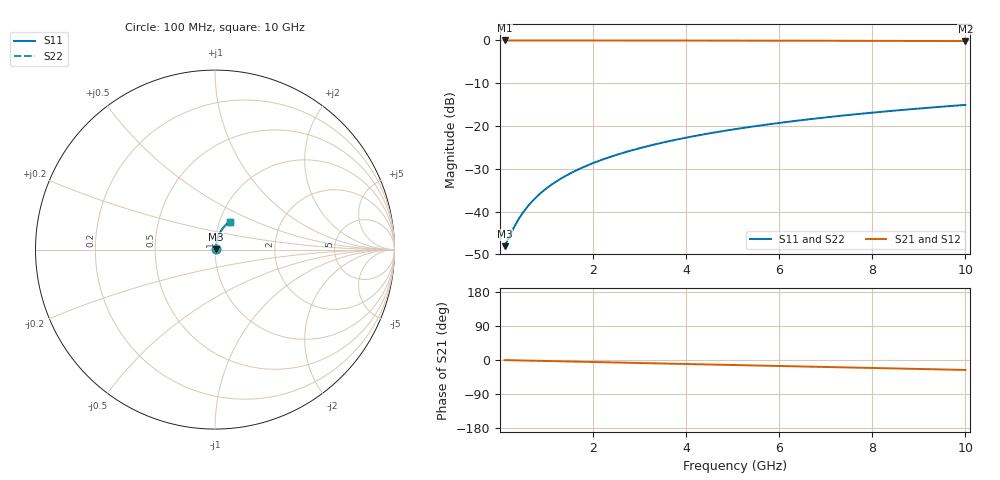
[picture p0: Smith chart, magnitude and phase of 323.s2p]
# Hz S RI R 50.00
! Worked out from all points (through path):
!   100 points, 100 MHz to 10 GHz, reference 50 ohm
!   highest |S21| = -0.03 dB at 100 MHz (marker M1); lowest = -0.2 dB at 10 GHz (marker M2)
!   group delay of S21, straight-line fit = 7.29 ps
!   lowest |S11| = -48.1 dB at 100 MHz (marker M3), VSWR 1.01, Z = 50.4 + j0.183 ohm
!   |S11| at or under -10 dB: start of sweep to end of sweep
!   |S22| runs from -48.1 to -15.1 dB; largest |S21 - S12| = 0
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1e8  0.0035 0.00182  0.9965 -0.00459  0.9965 -0.00459  0.0035 0.00182
3e8  0.00361 0.00545  0.9964 -0.0138  0.9964 -0.0138  0.00361 0.00545
4e8  0.00368 0.00727  0.9963 -0.0183  0.9963 -0.0183  0.00368 0.00727
5e8  0.00376 0.00909  0.9961 -0.0229  0.9961 -0.0229  0.00376 0.00909
6e8  0.00386 0.0109  0.996 -0.0275  0.996 -0.0275  0.00386 0.0109
7e8  0.00398 0.0127  0.9958 -0.0321  0.9958 -0.0321  0.00398 0.0127
9e8  0.00426 0.0163  0.9954 -0.0413  0.9954 -0.0413  0.00426 0.0163
1e9  0.00443 0.0181  0.9952 -0.0458  0.9952 -0.0458  0.00443 0.0181
1.2e9  0.00481 0.0218  0.9946 -0.055  0.9946 -0.055  0.00481 0.0218
1.5e9  0.0055 0.0272  0.9936 -0.0687  0.9936 -0.0687  0.0055 0.0272
1.8e9  0.00634 0.0326  0.9924 -0.0824  0.9924 -0.0824  0.00634 0.0326
2.1e9  0.00733 0.0379  0.9909 -0.0961  0.9909 -0.0961  0.00733 0.0379
2.5e9  0.00887 0.045  0.9887 -0.1142  0.9887 -0.1142  0.00887 0.045
2.9e9  0.0107 0.052  0.986 -0.1324  0.986 -0.1324  0.0107 0.052
3.4e9  0.0133 0.0607  0.9822 -0.1549  0.9822 -0.1549  0.0133 0.0607
4.2e9  0.0183 0.0743  0.9748 -0.1907  0.9748 -0.1907  0.0183 0.0743
5.1e9  0.0251 0.0891  0.9647 -0.2305  0.9647 -0.2305  0.0251 0.0891
5.9e9  0.0321 0.1018  0.9543 -0.2653  0.9543 -0.2653  0.0321 0.1018
6.7e9  0.04 0.1138  0.9424 -0.2996  0.9424 -0.2996  0.04 0.1138
7.5e9  0.0488 0.1253  0.9291 -0.3332  0.9291 -0.3332  0.0488 0.1253
8.4e9  0.0596 0.1373  0.9126 -0.3702  0.9126 -0.3702  0.0596 0.1373
1e10  0.0811 0.1563  0.8794 -0.4335  0.8794 -0.4335  0.0811 0.1563
